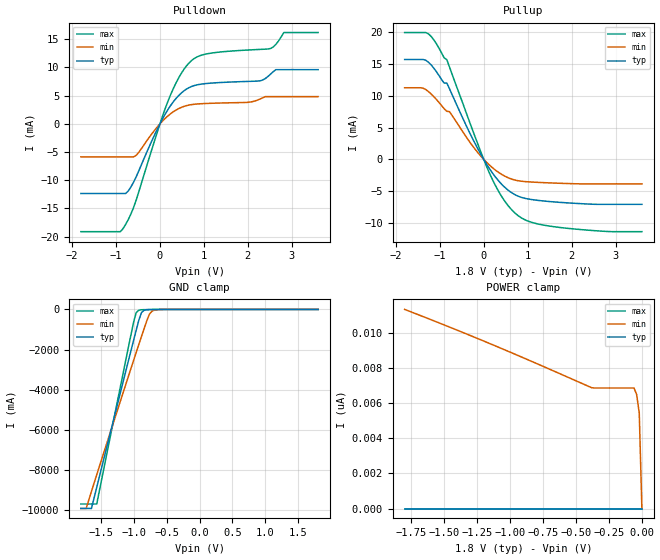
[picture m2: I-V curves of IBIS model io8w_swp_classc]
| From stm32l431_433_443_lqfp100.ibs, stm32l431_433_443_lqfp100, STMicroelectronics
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|   Model io8w_swp_classc
[Model]  io8w_swp_classc
Model_type I/O
Polarity   Non-Inverting
Enable   Active-High
Vinl =   0.540000V
Vinh =   1.260000V
Vmeas =  0.900000V
Cref =   100.000000nF
Rref =   1.000000k
Vref =   1.800000V
C_comp   2.984200pF   2.787900pF   3.023700pF
[Temperature Range]   25.000000   0.125000k   -40.000000
[Pullup Reference]   1.800000V   1.600000V   2.000000V
[Pulldown Reference]   0.0V   0.0V   0.0V
[POWER Clamp Reference]   1.800000V   1.600000V   2.000000V
[GND Clamp Reference]   0.0V   0.0V   0.0V
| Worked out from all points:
|   slope of the pulldown table from 0 to 0.27 V, typ, clamps not added: 76.3 ohm
|   slope of the pullup table from 0 to 0.27 V, typ, clamps not added: 96.5 ohm
|   GND clamp passes 1 mA (typ) near -0.58 V on its own axis
[Pulldown]
|Voltage   I(typ)   I(min)   I(max)
-1.8V     -12.36mA   -5.86mA    -19.12mA
-840mV    -12.36mA   -5.86mA    -18.57mA
-720mV    -11.9mA    -5.86mA    -16.95mA
-540mV    -9.369mA   -5.583mA   -13.48mA
240mV     3.217mA    1.775mA    5.118mA
480mV     5.414mA    2.888mA    8.874mA
720mV     6.619mA    3.404mA    11.22mA
1.14V     7.199mA    3.629mA    12.5mA
2.28V     7.626mA    4.396mA    13.19mA
2.52V     8.826mA    4.817mA    13.36mA
2.82V     9.603mA    4.817mA    16.18mA
3.6V      9.603mA    4.817mA    16.18mA
[Pullup]
|Voltage   I(typ)   I(min)   I(max)
-1.8V     15.66mA    11.23mA    19.89mA
-1.26V    15.25mA    10.65mA    19.7mA
-900mV    11.96mA    7.936mA    15.92mA
-840mV    11.96mA    7.542mA    15.64mA
-780mV    11.09mA    7.49mA     14.5mA
-300mV    3.9mA      2.55mA     5.454mA
120mV     -1.347mA   -825.2uA   -1.992mA
420mV     -3.984mA   -2.403mA   -5.945mA
720mV     -5.567mA   -3.259mA   -8.47mA
1.02V     -6.219mA   -3.523mA   -9.709mA
1.56V     -6.649mA   -3.704mA   -10.52mA
3.6V      -7.051mA   -3.835mA   -11.33mA
[GND_clamp]
|Voltage   I(typ)   I(min)   I(max)
-1.8V     -9.93A     -9.932A    -9.707A
-1.72V    -9.93A     -9.932A    -9.707A
-1.64V    -9.93A     -9.083A    -9.707A
-1.56V    -8.876A    -8.251A    -9.707A
-1V       -1.54A     -2.541A    -631mA
-960mV    -1.028A    -2.139A    -153.7mA
-920mV    -527mA     -1.74A     -39.12mA
-880mV    -155.6mA   -1.344A    -18.01mA
-840mV    -45.32mA   -953mA     -12.68mA
-760mV    -8.418mA   -235mA     -7.62mA
-680mV    -3.44mA    -33.01mA   -3.865mA
1.8V      0A         0A         0A
[POWER_clamp]
|Voltage   I(typ)   I(min)   I(max)
-1.8V     0A         11.37nA    0A
-1.14V    0A         9.374nA    0A
-380mV    0A         6.895nA    0A
-60mV     0A         6.881nA    0A
-40mV     0A         6.518nA    0A
-20mV     0A         5.452nA    0A
0V        0A         0A         0A
[Ramp]
| variable   typ   min   max
dV/dt_r  0.19789/11.65873n   0.10993/20.41276n   0.31319/7.49188n
dV/dt_f  0.22020/19.46795n   0.11064/31.61952n   0.38160/12.63684n
R_load = 50.000000
|End [Model] io8w_swp_classc
